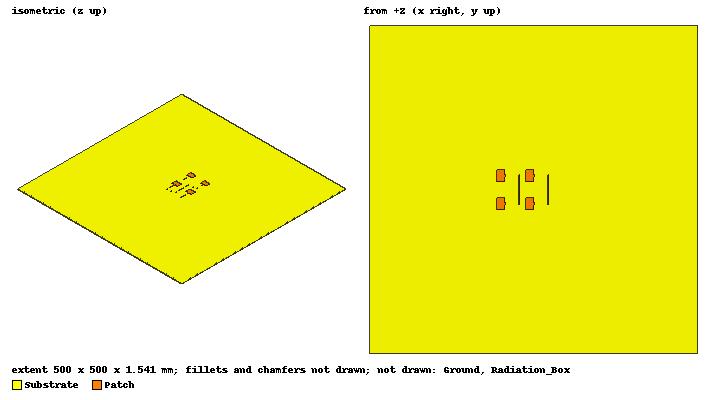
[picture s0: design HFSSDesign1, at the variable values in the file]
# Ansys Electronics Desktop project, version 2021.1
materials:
  vacuum: permittivity=1
  copper: permeability=0.999991 conductivity=58000000
  Rogers RO4003 (tm): permittivity=3.55 dielectric_loss_tangent=0.0027

design HFSSDesign1 (HFSS, DrivenModal, model units mm)
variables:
  xlength = 500mm
  ylength = 500mm
  t = 17um
  sub_h = 60mil
  xlength_patch = 12mm
  ylength_patch = 17.14638476mm
  L50 = 19.4352mm
  L100 = 22mm  # optimise 11mm..33mm
  L200 = 21.2997mm
  W50 = 3.46209mm
  W200 = 0.064266mm
  W100 = 0.867538mm
  WQW_100TO60 = 2.2mm
  LQW_100TO60 = 1mm
  L141 = 20.91mm
  W141 = 0.3mm  # optimise 0.15mm..0.45mm
  WQW_141TO100 = 1.5mm  # optimise 0.267684mm..0.803052mm
  LQW_141TO100 = 1mm
  up = 20.4776mm
  L100_UP = 20.4776mm
  eps = 0mm
  chamfer_param = 200um
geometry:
  Ground [copper] = box(corner=(-xlength/2, -ylength/2, 0um), size=(xlength, ylength, t))
  coordinate_system RelativeCS1 = origin=(0mm, 0mm, 0.017mm) x=(1mm, 0mm, 0mm) y=(0mm, 1mm, 0mm)
  Substrate [Rogers RO4003 (tm)] = box(corner=(-xlength/2, -ylength/2, t), size=(xlength, ylength, sub_h)) in RelativeCS1
  track = box(corner=(0, -W100/2, t+sub_h), size=(xlength_patch/20, W100, t)) in RelativeCS1
  Rectangle1 = rectangle(corner=(xlength_patch/20, -W100/2, t), y_size=W100, z_size=sub_h) in RelativeCS1
  Radiation_Box [vacuum] = box(corner=(-xlength/2, -ylength/2, 0mm), size=(xlength, ylength, 15*(sub_h+2*t))) in RelativeCS1
  coordinate_system RelativeCS2 = origin=(0mm, 0mm, 0.017mm) x=(1mm, 0mm, 0mm) y=(0mm, 1mm, 0mm)
  coordinate_system RelativeCS3 = origin=(0mm, 0mm, 0.017mm) x=(1mm, 0mm, 0mm) y=(0mm, 1mm, 0mm)
  coordinate_system RelativeCS4 = origin=(0mm, 0mm, 0.017mm) x=(1mm, 0mm, 0mm) y=(0mm, 1mm, 0mm)
  100_Track = box(corner=(-L100, -W100/2, t+sub_h+t), size=(2*L100, W100, t))
  track1 = box(corner=(0, -W100/2, 2*t+sub_h), size=(xlength_patch/20-eps, W100, t))
  100_Track.subtract(track)
  coordinate_system RelativeCS5 = origin=(0mm, 0mm, 0.017mm) x=(1mm, 0mm, 0mm) y=(0mm, 1mm, 0mm)
  coordinate_system RelativeCS6 = origin=(0mm, 0mm, 0.017mm) x=(1mm, 0mm, 0mm) y=(0mm, 1mm, 0mm)
  Patch [copper] = box(corner=(-L100_UP-L100-W141-LQW_100TO60-xlength_patch-(WQW_141TO100-W141)/2, -ylength_patch/2-L141+1.41mm/2-0.867538mm/2-WQW_141TO100/2, t+sub_h), size=(xlength_patch, ylength_patch, t)) in RelativeCS6
  100_Track_UPPER2 = box(corner=(-L100_UP-L100-W141 -(WQW_141TO100-W141)/2, -L141-W100/2-WQW_141TO100/2, 2*t+sub_h), size=(L100_UP, W100, t))
  QW_matching_100to68 = box(corner=(-L100-W141-L100_UP-LQW_100TO60 -(WQW_141TO100-W141)/2, -L141+(W100-WQW_100TO60)/2-W100/2-WQW_141TO100/2, t+t+sub_h), size=(LQW_100TO60, WQW_100TO60, t))
  TLINE_143 = box(corner=(-L100 -W141, -L141, t+sub_h+t), size=(W141, L141, t))
  QW_100TO143 = box(corner=(-L100 -W141+(W141-WQW_141TO100)/2, -L141-WQW_141TO100, t+sub_h+t), size=(WQW_141TO100, WQW_141TO100, t))
  coordinate_system RelativeCS7 = origin=(0mm, 0mm, 0.017mm) x=(1mm, 0mm, 0mm) y=(0mm, 1mm, 0mm)
  coordinate_system RelativeCS8 = origin=(0mm, 0mm, 0.017mm) x=(1mm, 0mm, 0mm) y=(0mm, 1mm, 0mm)
  coordinate_system RelativeCS9 = origin=(0mm, 0mm, 0.017mm) x=(1mm, 0mm, 0mm) y=(0mm, 1mm, 0mm)
  Patch1 = box(corner=(-L100_UP-L100-W141-LQW_100TO60-xlength_patch-(WQW_141TO100-W141)/2, -ylength_patch/2-L141+1.41mm/2-0.867538mm/2-WQW_141TO100/2, t+sub_h), size=(xlength_patch, ylength_patch, t)) in RelativeCS9
  QW_matching_100to69 = box(corner=(-L100-W141-L100_UP-LQW_100TO60 -(WQW_141TO100-W141)/2, -L141+(W100-WQW_100TO60)/2-W100/2-WQW_141TO100/2, t+t+sub_h), size=(LQW_100TO60, WQW_100TO60, t))
  100_Track_UPPER3 = box(corner=(-L100_UP-L100-W141 -(WQW_141TO100-W141)/2, -L141-W100/2-WQW_141TO100/2, 2*t+sub_h), size=(L100_UP, W100, t))
  QW_100TO144 = box(corner=(-L100 -W141+(W141-WQW_141TO100)/2, -L141-WQW_141TO100, t+sub_h+t), size=(WQW_141TO100, WQW_141TO100, t))
  TLINE_144 = box(corner=(-L100 -W141, -L141, t+sub_h+t), size=(W141, L141, t))
  Patch1.unite(QW_matching_100to69, 100_Track_UPPER3, QW_100TO144, TLINE_144)
  coordinate_system RelativeCS10 = origin=(0mm, 0mm, 0.017mm) x=(1mm, 0mm, 0mm) y=(0mm, 1mm, 0mm)
  coordinate_system RelativeCS11 = origin=(0mm, 0mm, 0.017mm) x=(1mm, 0mm, 0mm) y=(0mm, 1mm, 0mm)
  Patch1.mirror(point=(0mm, 0mm, 0mm), normal=(0mm, 1mm, 0mm))
  coordinate_system RelativeCS12 = origin=(0mm, 0mm, 0.017mm) x=(1mm, 0mm, 0mm) y=(0mm, 1mm, 0mm)
  Patch.unite(QW_matching_100to68, 100_Track_UPPER2, QW_100TO143, TLINE_143)
  coordinate_system RelativeCS13 = origin=(0mm, 0mm, 0.017mm) x=(1mm, 0mm, 0mm) y=(0mm, 1mm, 0mm)
  Patch2 = box(corner=(-L100_UP-L100-W141-LQW_100TO60-xlength_patch-(WQW_141TO100-W141)/2, -ylength_patch/2-L141+1.41mm/2-0.867538mm/2-WQW_141TO100/2, t+sub_h), size=(xlength_patch, ylength_patch, t)) in RelativeCS13
  QW_matching_100to70 = box(corner=(-L100-W141-L100_UP-LQW_100TO60 -(WQW_141TO100-W141)/2, -L141+(W100-WQW_100TO60)/2-W100/2-WQW_141TO100/2, t+t+sub_h), size=(LQW_100TO60, WQW_100TO60, t))
  100_Track_UPPER4 = box(corner=(-L100_UP-L100-W141 -(WQW_141TO100-W141)/2, -L141-W100/2-WQW_141TO100/2, 2*t+sub_h), size=(L100_UP, W100, t))
  QW_100TO145 = box(corner=(-L100 -W141+(W141-WQW_141TO100)/2, -L141-WQW_141TO100, t+sub_h+t), size=(WQW_141TO100, WQW_141TO100, t))
  TLINE_145 = box(corner=(-L100 -W141, -L141, t+sub_h+t), size=(W141, L141, t))
  Patch2.unite(QW_matching_100to70, 100_Track_UPPER4, QW_100TO145, TLINE_145)
  coordinate_system RelativeCS14 = origin=(0mm, 0mm, 0.017mm) x=(1mm, 0mm, 0mm) y=(0mm, 1mm, 0mm)
  Patch2.move(2*L100+W141, 0mm, 0mm)
  coordinate_system RelativeCS15 = origin=(0mm, 0mm, 0.017mm) x=(1mm, 0mm, 0mm) y=(0mm, 1mm, 0mm)
  Patch3 = box(corner=(-L100_UP-L100-W141-LQW_100TO60-xlength_patch-(WQW_141TO100-W141)/2, -ylength_patch/2-L141+1.41mm/2-0.867538mm/2-WQW_141TO100/2, t+sub_h), size=(xlength_patch, ylength_patch, t)) in RelativeCS15
  QW_matching_100to71 = box(corner=(-L100-W141-L100_UP-LQW_100TO60 -(WQW_141TO100-W141)/2, -L141+(W100-WQW_100TO60)/2-W100/2-WQW_141TO100/2, t+t+sub_h), size=(LQW_100TO60, WQW_100TO60, t))
  100_Track_UPPER5 = box(corner=(-L100_UP-L100-W141 -(WQW_141TO100-W141)/2, -L141-W100/2-WQW_141TO100/2, 2*t+sub_h), size=(L100_UP, W100, t))
  QW_100TO146 = box(corner=(-L100 -W141+(W141-WQW_141TO100)/2, -L141-WQW_141TO100, t+sub_h+t), size=(WQW_141TO100, WQW_141TO100, t))
  TLINE_146 = box(corner=(-L100 -W141, -L141, t+sub_h+t), size=(W141, L141, t))
  Patch3.unite(QW_matching_100to71, 100_Track_UPPER5, QW_100TO146, TLINE_146)
  Patch3.mirror(point=(0mm, 0mm, 0mm), normal=(0mm, 1mm, 0mm))
  Patch3.move(2*L100+W141, 0mm, 0mm)
  Patch.chamfer(Edges=Patch.edge(10 of 12) LeftDistance=chamfer_param RightDistance=chamfer_param ChamferType=Symmetric)
  Patch1.chamfer(Edges=Patch.edge(10 of 12) LeftDistance=chamfer_param RightDistance=chamfer_param ChamferType=Symmetric)
  Patch3.chamfer(Edges=Patch.edge(10 of 12) LeftDistance=chamfer_param RightDistance=chamfer_param ChamferType=Symmetric)
  Patch2.chamfer(Edges=Patch.edge(10 of 12) LeftDistance=chamfer_param RightDistance=chamfer_param ChamferType=Symmetric)
  100_Track.unite(track1)
  Patch.unite(Patch1, Patch2, Patch3, 100_Track)
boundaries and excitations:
  Rad1: Radiation Faces=Radiation_Box.face(6 of 6, 3 of 6, 4 of 6, 5 of 6, 1 of 6) Ground.face(-z)
  1: Lumped Port Objects=Rectangle1 Modes{Mode1{IntLine{Rectangle1.face -> middle of Rectangle1.edge(3 of 4)} CharImp=Zpi RenormImp=50ohm}} Impedance=50ohm
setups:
  Setup1: HfssDriven Frequency=5.8GHz MaxDeltaS=0.02 MaximumPasses=5 MinimumPasses=3 MinimumConvergedPasses=3 PercentRefinement=30 BasisOrder=1 PortAccuracy=2
    sweep Sweep: 5GHz to 6GHz, 40 points; Type=Fast SaveFields
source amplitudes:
  1:1: 1W 0deg
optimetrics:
  OptimizationSetup1: Optimization Optimizer="Quasi Newton" AnalysisStopOptions{StopForNumIteration MaxNumIteration=1000 MinNumIteration=10} CostFuncNormType=L2 Acceptable_Cost=0 Noise=0.0001 UpdateDesignWhenDone
    vary L100: Min=22mm Max=22.5mm MinStep=0.22mm MaxStep=2.2mm MinFocus=11mm MaxFocus=33mm start=22.25mm
    goal dB(S(1,1)) <= -20 weight 1 on Setup1 : Sweep at Freq 5.7GHz to 5.9GHz
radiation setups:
  Infinite Sphere1: Infinite Sphere Theta=0deg..180deg step 10deg Phi=-180deg..180deg step 10deg
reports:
  S Parameter Plot 1: dB(S(1,1)) vs Freq on Setup1 : Sweep [WQW_100TO60=2.2mm WQW_141TO100=1.5mm]; dB(S(1,1)) vs Freq on Setup1 : Sweep [WQW_100TO60=2.2mm W141=0.5mm WQW_141TO100=1.5mm]
  Gain Plot 2: dB(GainTotal) vs Freq on Setup1 : Sweep, Infinite Sphere1 [Phi=0deg Theta=0deg L100=22mm]; markers m1 at 5.6923077GHz
  VSWR Plot 3: dB(VSWR(1)) vs Freq on Setup1 : LastAdaptive [L100=all]
  VSWR Plot 4: mag(VSWR(1)) vs Freq on Setup1 : Sweep [L100=all]
  VSWR Plot 5: mag(VSWR(1)) vs Freq on Setup1 : Sweep [L100=22mm]; markers m1 at 5.8205128GHz, m2 at 5.7692308GHz, m3 at 5.8717949GHz
  Z Parameter Plot 1: mag(Z(1,1)) vs Freq on Setup1 : Sweep [L100=all]
  Z Parameter Plot 2: mag(Z(1,1)), im(Z(1,1)) vs Freq on Setup1 : Sweep [L100=22mm]
  Gain Plot 3: GainTotal vs Theta on Setup1 : LastAdaptive, Infinite Sphere1 [Phi=0deg,90deg Freq=5.8GHz]
